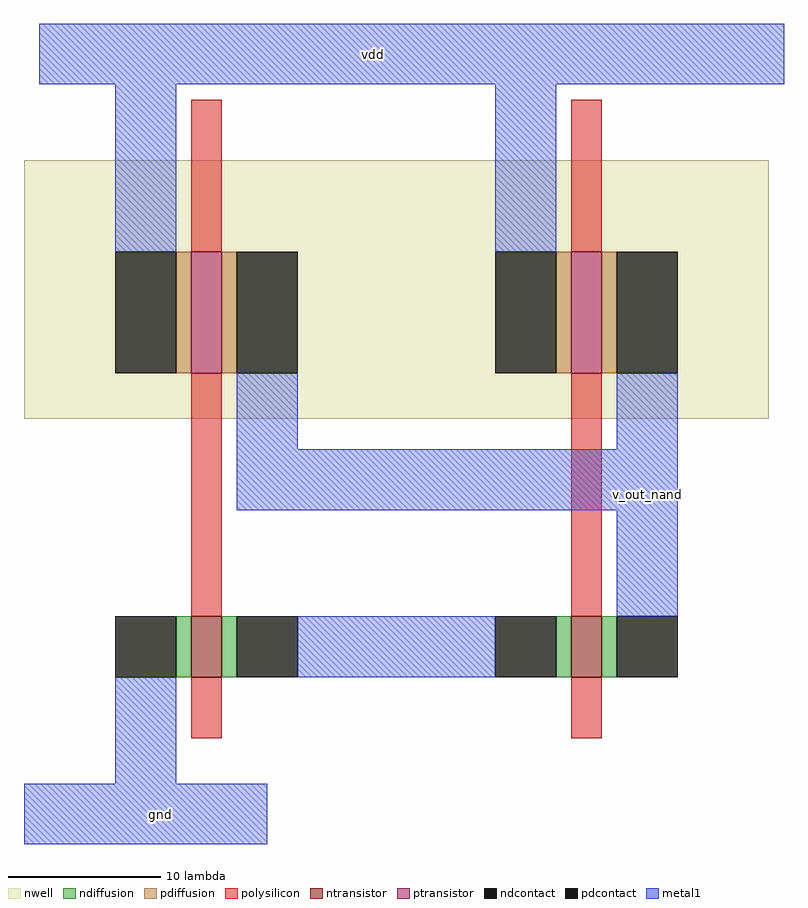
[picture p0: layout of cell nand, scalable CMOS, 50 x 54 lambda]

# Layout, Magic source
magic
tech scmos
<< nwell >>
rect 0 3 49 20
<< polysilicon >>
rect 11 14 13 24
rect 36 14 38 24
rect 11 -10 13 6
rect 36 -10 38 6
rect 11 -18 13 -14
rect 36 -18 38 -14
<< ndiffusion >>
rect 10 -14 11 -10
rect 13 -14 14 -10
rect 35 -14 36 -10
rect 38 -14 39 -10
<< pdiffusion >>
rect 10 6 11 14
rect 13 6 14 14
rect 35 6 36 14
rect 38 6 39 14
<< metal1 >>
rect 1 25 50 29
rect 6 14 10 25
rect 31 14 35 25
rect 14 1 18 6
rect 39 1 43 6
rect 14 -3 43 1
rect 39 -10 43 -3
rect 18 -14 31 -10
rect 6 -21 10 -14
rect 0 -25 16 -21
<< ntransistor >>
rect 11 -14 13 -10
rect 36 -14 38 -10
<< ptransistor >>
rect 11 6 13 14
rect 36 6 38 14
<< ndcontact >>
rect 6 -14 10 -10
rect 14 -14 18 -10
rect 31 -14 35 -10
rect 39 -14 43 -10
<< pdcontact >>
rect 6 6 10 14
rect 14 6 18 14
rect 31 6 35 14
rect 39 6 43 14
<< labels >>
rlabel metal1 23 27 23 27 5 vdd
rlabel metal1 9 -23 9 -23 1 gnd
rlabel metal1 41 -2 41 -2 1 v_out_nand
<< end >>
